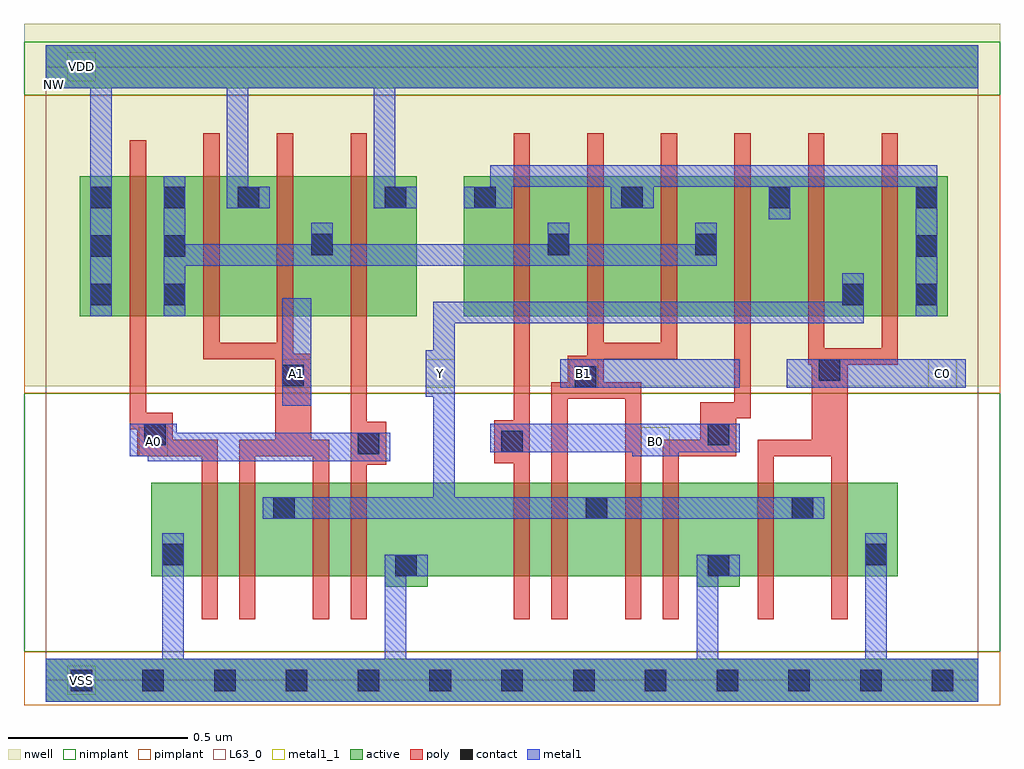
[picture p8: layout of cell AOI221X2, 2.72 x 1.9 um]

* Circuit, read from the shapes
.subckt AOI221X2 A0 A1 B0 B1 C0 NW VDD VSS Y
M1 n1 A0 VSS VSS nfet w=0.26u l=0.045u
M2 Y A1 n1 VSS nfet w=0.26u l=0.045u
M3 n2 A1 Y VSS nfet w=0.26u l=0.045u
M4 VSS A0 n2 VSS nfet w=0.26u l=0.045u
M5 n3 B0 VSS VSS nfet w=0.26u l=0.045u
M6 Y B1 n3 VSS nfet w=0.26u l=0.045u
M7 n4 B1 Y VSS nfet w=0.26u l=0.045u
M8 VSS B0 n4 VSS nfet w=0.26u l=0.045u
M9 Y C0 VSS VSS nfet w=0.26u l=0.045u m=2
M10 n5 A0 VDD NW pfet w=0.39u l=0.045u m=2
M11 VDD A1 n5 NW pfet w=0.39u l=0.045u m=2
M12 n5 B0 n6 NW pfet w=0.39u l=0.045u m=2
M13 n6 B1 n5 NW pfet w=0.39u l=0.045u m=2
M14 Y C0 n6 NW pfet w=0.39u l=0.045u m=2
.ends

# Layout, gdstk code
import gdstk
lib = gdstk.Library(unit=1e-6, precision=5e-10)
def R(c, l, rs):  # rectangles x0, y0, x1, y1
    for r in rs: c.add(gdstk.rectangle(r[:2], r[2:], *l))
def A(c, l, x, y, w, h, nx, ny, dx, dy):  # array of equal rectangles
    R(c, l, [(x+i*dx, y+j*dy, x+i*dx+w, y+j*dy+h) for i in range(nx) for j in range(ny)])
def P(c, l, *ps):  # polygons
    for p in ps: c.add(gdstk.Polygon(p, *l))
active = (1, 0)
nwell = (2, 0)
poly = (3, 0)
nimplant = (4, 0)
pimplant = (5, 0)
contact = (6, 0)
metal1 = (7, 0)
metal1_1 = (7, 1)
L63_0 = (63, 0)

aoi221x2 = lib.new_cell('AOI221X2')
R(aoi221x2, active, [(0,-0.06,2.6,0.06), (0.095,1.015,1.035,1.405), (1.165,1.015,2.515,1.405), (0,1.65,2.6,1.77)])
P(aoi221x2, active, [(0.295,0.55),(2.375,0.55),(2.375,0.29),(1.935,0.29),(1.935,0.26),(1.815,0.26),(1.815,0.29),(1.065,0.29),(1.065,0.26),(0.945,0.26),(0.945,0.29),(0.295,0.29)])
R(aoi221x2, nwell, [(-0.06,0.82,2.66,1.83), (0,1.61,0.05,1.71)])
P(aoi221x2, poly, [(0.235,1.505),(0.28,1.505),(0.28,0.745),(0.355,0.745),(0.355,0.67),(0.48,0.67),(0.48,0.17),(0.435,0.17),(0.435,0.625),(0.255,0.625),(0.255,0.7),(0.235,0.7)],
  [(0.44,1.525),(0.485,1.525),(0.485,0.94),(0.645,0.94),(0.645,1.525),(0.69,1.525),(0.69,0.91),(0.74,0.91),(0.74,0.67),(0.79,0.67),(0.79,0.17),(0.745,0.17),(0.745,0.625),(0.585,0.625),(0.585,0.17),(0.54,0.17),(0.54,0.67),(0.64,0.67),(0.64,0.895),(0.44,0.895)],
  [(0.85,1.525),(0.895,1.525),(0.895,0.72),(0.95,0.72),(0.95,0.6),(0.895,0.6),(0.895,0.17),(0.85,0.17)],
  [(1.305,1.525),(1.35,1.525),(1.35,0.17),(1.305,0.17),(1.305,0.605),(1.25,0.605),(1.25,0.725),(1.305,0.725)],
  [(1.51,1.525),(1.555,1.525),(1.555,0.94),(1.715,0.94),(1.715,1.525),(1.76,1.525),(1.76,0.895),(1.555,0.895),(1.555,0.83),(1.66,0.83),(1.66,0.17),(1.615,0.17),(1.615,0.785),(1.455,0.785),(1.455,0.17),(1.41,0.17),(1.41,0.83),(1.455,0.83),(1.455,0.905),(1.51,0.905)],
  [(1.92,1.525),(1.965,1.525),(1.965,0.73),(1.925,0.73),(1.925,0.625),(1.765,0.625),(1.765,0.17),(1.72,0.17),(1.72,0.67),(1.825,0.67),(1.825,0.775),(1.92,0.775)],
  [(2.125,1.525),(2.17,1.525),(2.17,0.925),(2.33,0.925),(2.33,1.525),(2.375,1.525),(2.375,0.88),(2.235,0.88),(2.235,0.17),(2.19,0.17),(2.19,0.625),(2.03,0.625),(2.03,0.17),(1.985,0.17),(1.985,0.67),(2.135,0.67),(2.135,0.88),(2.125,0.88)])
R(aoi221x2, nimplant, [(-0.06,0.08,2.66,0.8), (-0.06,1.63,2.66,1.78)])
R(aoi221x2, pimplant, [(-0.06,-0.07,2.66,0.08), (-0.06,0.8,2.66,1.63)])
A(aoi221x2, contact, 0.07, -0.03, 0.06, 0.06, 13, 1, 0.2, 0)
A(aoi221x2, contact, 0.125, 1.315, 0.06, 0.06, 3, 1, 0.205, 0)
A(aoi221x2, contact, 1.195, 1.315, 0.06, 0.06, 4, 1, 0.41, 0)
R(aoi221x2, contact, [(0.975,0.29,1.035,0.35), (1.845,0.29,1.905,0.35), (0.325,0.32,0.385,0.38), (2.285,0.32,2.345,0.38), (0.635,0.45,0.695,0.51), (1.505,0.45,1.565,0.51), (2.08,0.45,2.14,0.51), (0.87,0.63,0.93,0.69), (1.27,0.635,1.33,0.695), (0.275,0.655,0.335,0.715), (1.845,0.655,1.905,0.715), (1.475,0.815,1.535,0.875), (0.66,0.82,0.72,0.88), (2.155,0.835,2.215,0.895), (0.125,1.045,0.185,1.105), (0.33,1.045,0.39,1.105), (2.22,1.045,2.28,1.105), (2.425,1.045,2.485,1.105), (0.125,1.18,0.185,1.24), (0.33,1.18,0.39,1.24), (2.425,1.18,2.485,1.24), (0.74,1.185,0.8,1.245), (1.4,1.185,1.46,1.245), (1.81,1.185,1.87,1.245), (0.945,1.315,1.005,1.375)])
R(aoi221x2, metal1, [(0.325,0.06,0.385,0.41), (2.285,0.06,2.345,0.41), (0.66,0.765,0.74,1.065), (1.435,0.815,1.935,0.895), (2.065,0.815,2.565,0.895), (0.125,1.015,0.185,1.65)])
P(aoi221x2, metal1, [(1.935,0.35),(1.815,0.35),(1.815,0.06),(1.875,0.06),(1.875,0.29),(1.935,0.29)],
  [(1.065,0.35),(0.945,0.35),(0.945,0.06),(1.005,0.06),(1.005,0.29),(1.065,0.29)],
  [(0.625,1.375),(0.565,1.375),(0.565,1.65),(0.505,1.65),(0.505,1.315),(0.625,1.315)],
  [(1.035,1.375),(0.975,1.375),(0.975,1.65),(0.915,1.65),(0.915,1.315),(1.035,1.315)],
  [(0.33,1.405),(0.39,1.405),(0.39,1.215),(0.74,1.215),(0.74,1.275),(0.8,1.275),(0.8,1.215),(1.4,1.215),(1.4,1.275),(1.46,1.275),(1.46,1.215),(1.81,1.215),(1.81,1.275),(1.87,1.275),(1.87,1.155),(0.39,1.155),(0.39,1.015),(0.33,1.015)],
  [(1.24,1.435),(2.485,1.435),(2.485,1.015),(2.425,1.015),(2.425,1.375),(2.075,1.375),(2.075,1.285),(2.015,1.285),(2.015,1.375),(1.695,1.375),(1.695,1.315),(1.575,1.315),(1.575,1.375),(1.3,1.375),(1.3,1.315),(1.165,1.315),(1.165,1.375),(1.24,1.375)],
  [(2.22,1.135),(2.28,1.135),(2.28,0.995),(1.14,0.995),(1.14,0.51),(2.17,0.51),(2.17,0.45),(0.605,0.45),(0.605,0.51),(1.08,0.51),(1.08,0.79),(1.06,0.79),(1.06,0.92),(1.08,0.92),(1.08,1.055),(2.22,1.055)],
  [(0.235,0.715),(0.365,0.715),(0.365,0.69),(0.96,0.69),(0.96,0.61),(0.285,0.61),(0.285,0.625),(0.235,0.625)],
  [(1.24,0.715),(1.935,0.715),(1.935,0.635),(1.765,0.635),(1.765,0.625),(1.635,0.625),(1.635,0.635),(1.24,0.635)])
A(aoi221x2, metal1_1, 0.66, 0.815, 0.08, 0.08, 3, 1, 0.4, 0)
R(aoi221x2, metal1_1, [(0.06,-0.04,0.14,0.04), (0.26,0.625,0.34,0.705), (1.66,0.625,1.74,0.705), (2.46,0.815,2.54,0.895), (0.06,1.67,0.14,1.75)])
R(aoi221x2, L63_0, [(0,0,2.6,1.71)])
aoi221x2.add(gdstk.FlexPath([(0,0),(2.6,0)], 0.12, ends="flush", simple_path=True, layer=7, datatype=0))  # metal1
aoi221x2.add(gdstk.FlexPath([(0,1.71),(2.6,1.71)], 0.12, ends="flush", simple_path=True, layer=7, datatype=0))  # metal1
aoi221x2.add(gdstk.Label('Y', (1.1,0.855), layer=7, texttype=1))
aoi221x2.add(gdstk.Label('B1', (1.5,0.855), layer=7, texttype=1))
aoi221x2.add(gdstk.Label('A1', (0.7,0.855), layer=7, texttype=1))
aoi221x2.add(gdstk.Label('A0', (0.3,0.665), layer=7, texttype=1))
aoi221x2.add(gdstk.Label('B0', (1.7,0.665), layer=7, texttype=1))
aoi221x2.add(gdstk.Label('C0', (2.5,0.855), layer=7, texttype=1))
aoi221x2.add(gdstk.Label('VDD', (0.1,1.71), layer=7, texttype=1))
aoi221x2.add(gdstk.Label('VSS', (0.1,0), layer=7, texttype=1))
aoi221x2.add(gdstk.Label('VSS', (0.1,0), layer=7, texttype=1))
aoi221x2.add(gdstk.Label('VDD', (0.1,1.71), layer=7, texttype=1))
aoi221x2.add(gdstk.Label('C0', (2.5,0.855), layer=7, texttype=1))
aoi221x2.add(gdstk.Label('B0', (1.7,0.665), layer=7, texttype=1))
aoi221x2.add(gdstk.Label('A0', (0.3,0.665), layer=7, texttype=1))
aoi221x2.add(gdstk.Label('A1', (0.7,0.855), layer=7, texttype=1))
aoi221x2.add(gdstk.Label('B1', (1.5,0.855), layer=7, texttype=1))
aoi221x2.add(gdstk.Label('Y', (1.1,0.855), layer=7, texttype=1))
aoi221x2.add(gdstk.Label('AOI221X2', (0,0), layer=63, texttype=0))
aoi221x2.add(gdstk.Label('NW', (0.025,1.66), layer=2, texttype=0))
aoi221x2.add(gdstk.Label('NW', (0.025,1.63), layer=2, texttype=0))

lib.write_gds('AOI221X2.gds')
